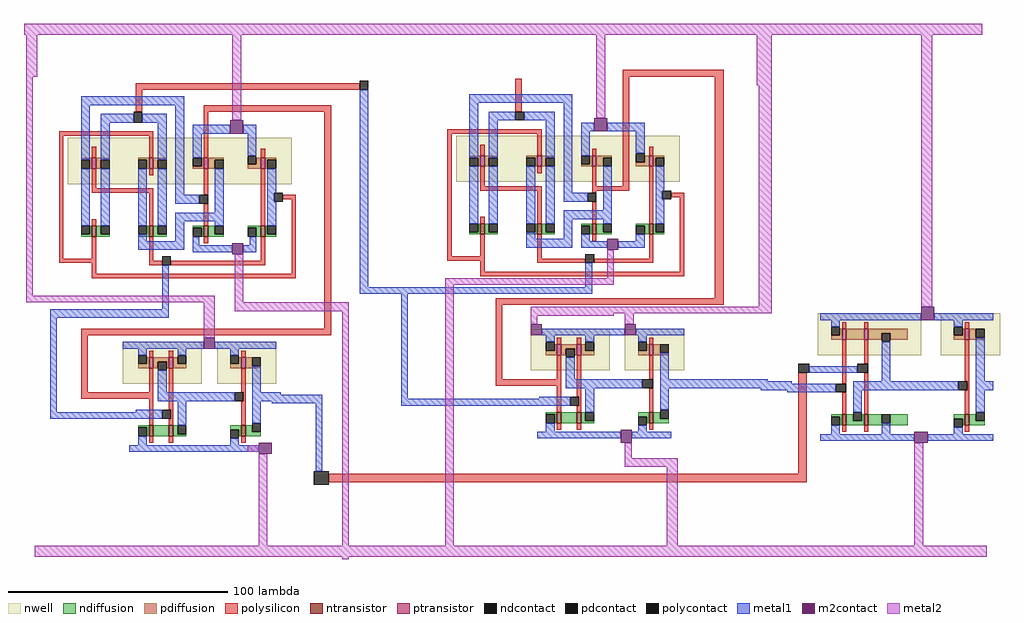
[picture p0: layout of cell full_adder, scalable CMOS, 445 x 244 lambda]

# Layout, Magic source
magic
tech scmos
<< nwell >>
rect -326 1 -224 22
rect -149 2 -47 23
rect -301 -90 -265 -71
rect -258 -90 -231 -71
rect -115 -84 -79 -65
rect -72 -84 -45 -65
rect 16 -77 63 -58
rect 72 -77 99 -58
<< ntransistor >>
rect -315 -23 -313 -18
rect -289 -23 -287 -18
rect -264 -23 -262 -18
rect -238 -23 -236 -18
rect -138 -22 -136 -17
rect -112 -22 -110 -17
rect -87 -22 -85 -17
rect -61 -22 -59 -17
rect -103 -108 -101 -103
rect -94 -108 -92 -103
rect -289 -114 -287 -109
rect -280 -114 -278 -109
rect -247 -114 -245 -109
rect -61 -108 -59 -103
rect 27 -109 29 -104
rect 37 -109 39 -104
rect 83 -109 85 -104
<< ptransistor >>
rect -315 8 -313 13
rect -289 8 -287 13
rect -264 8 -262 13
rect -238 8 -236 13
rect -138 9 -136 14
rect -112 9 -110 14
rect -87 9 -85 14
rect -61 9 -59 14
rect -289 -83 -287 -78
rect -280 -83 -278 -78
rect -247 -83 -245 -78
rect -103 -77 -101 -72
rect -94 -77 -92 -72
rect 27 -70 29 -65
rect 37 -70 39 -65
rect -61 -77 -59 -72
rect 83 -70 85 -65
<< ndiffusion >>
rect -316 -22 -315 -18
rect -320 -23 -315 -22
rect -313 -22 -311 -18
rect -313 -23 -307 -22
rect -290 -22 -289 -18
rect -294 -23 -289 -22
rect -287 -22 -285 -18
rect -287 -23 -281 -22
rect -269 -19 -264 -18
rect -265 -23 -264 -19
rect -262 -22 -259 -18
rect -262 -23 -255 -22
rect -244 -19 -238 -18
rect -240 -23 -238 -19
rect -236 -22 -235 -18
rect -236 -23 -231 -22
rect -139 -21 -138 -17
rect -143 -22 -138 -21
rect -136 -21 -134 -17
rect -136 -22 -130 -21
rect -113 -21 -112 -17
rect -117 -22 -112 -21
rect -110 -21 -108 -17
rect -110 -22 -104 -21
rect -92 -18 -87 -17
rect -88 -22 -87 -18
rect -85 -21 -82 -17
rect -85 -22 -78 -21
rect -67 -18 -61 -17
rect -63 -22 -61 -18
rect -59 -21 -58 -17
rect -59 -22 -54 -21
rect -108 -104 -103 -103
rect -104 -108 -103 -104
rect -101 -108 -94 -103
rect -92 -107 -90 -103
rect -92 -108 -86 -107
rect -66 -105 -61 -103
rect -294 -110 -289 -109
rect -290 -114 -289 -110
rect -287 -114 -280 -109
rect -278 -113 -276 -109
rect -278 -114 -272 -113
rect -252 -111 -247 -109
rect -248 -114 -247 -111
rect -245 -112 -242 -109
rect -62 -108 -61 -105
rect -59 -106 -56 -103
rect -59 -108 -52 -106
rect -245 -114 -238 -112
rect 22 -105 27 -104
rect 26 -109 27 -105
rect 29 -107 32 -104
rect 36 -107 37 -104
rect 29 -109 37 -107
rect 39 -108 45 -104
rect 49 -108 57 -104
rect 39 -109 57 -108
rect 78 -106 83 -104
rect 82 -109 83 -106
rect 85 -107 88 -104
rect 85 -109 92 -107
<< pdiffusion >>
rect -320 12 -315 13
rect -316 8 -315 12
rect -313 12 -307 13
rect -313 8 -311 12
rect -294 12 -289 13
rect -290 8 -289 12
rect -287 12 -281 13
rect -287 8 -285 12
rect -265 9 -264 13
rect -269 8 -264 9
rect -262 12 -255 13
rect -262 8 -259 12
rect -240 10 -238 13
rect -244 8 -238 10
rect -236 12 -231 13
rect -236 8 -235 12
rect -143 13 -138 14
rect -139 9 -138 13
rect -136 13 -130 14
rect -136 9 -134 13
rect -117 13 -112 14
rect -113 9 -112 13
rect -110 13 -104 14
rect -110 9 -108 13
rect -88 10 -87 14
rect -92 9 -87 10
rect -85 13 -78 14
rect -85 9 -82 13
rect -63 11 -61 14
rect -67 9 -61 11
rect -59 13 -54 14
rect -59 9 -58 13
rect -290 -81 -289 -78
rect -294 -83 -289 -81
rect -287 -80 -280 -78
rect -287 -83 -285 -80
rect -281 -83 -280 -80
rect -278 -81 -276 -78
rect -278 -83 -272 -81
rect -248 -81 -247 -78
rect -252 -83 -247 -81
rect -245 -82 -242 -78
rect -245 -83 -238 -82
rect 26 -68 27 -65
rect -104 -75 -103 -72
rect -108 -77 -103 -75
rect -101 -74 -94 -72
rect -101 -77 -99 -74
rect -95 -77 -94 -74
rect -92 -75 -90 -72
rect -92 -77 -86 -75
rect 22 -70 27 -68
rect 29 -70 37 -65
rect 39 -67 57 -65
rect 39 -70 45 -67
rect -62 -75 -61 -72
rect -66 -77 -61 -75
rect -59 -76 -56 -72
rect -59 -77 -52 -76
rect 49 -70 57 -67
rect 82 -68 83 -65
rect 78 -70 83 -68
rect 85 -69 88 -65
rect 85 -70 92 -69
<< ndcontact >>
rect -320 -22 -316 -18
rect -311 -22 -307 -18
rect -294 -22 -290 -18
rect -285 -22 -281 -18
rect -269 -23 -265 -19
rect -259 -22 -255 -18
rect -244 -23 -240 -19
rect -235 -22 -231 -18
rect -143 -21 -139 -17
rect -134 -21 -130 -17
rect -117 -21 -113 -17
rect -108 -21 -104 -17
rect -92 -22 -88 -18
rect -82 -21 -78 -17
rect -67 -22 -63 -18
rect -58 -21 -54 -17
rect -108 -108 -104 -104
rect -90 -107 -86 -103
rect -294 -114 -290 -110
rect -276 -113 -272 -109
rect -252 -115 -248 -111
rect -242 -112 -238 -108
rect -66 -109 -62 -105
rect -56 -106 -52 -102
rect 22 -109 26 -105
rect 32 -107 36 -103
rect 45 -108 49 -104
rect 78 -110 82 -106
rect 88 -107 92 -103
<< pdcontact >>
rect -320 8 -316 12
rect -311 8 -307 12
rect -294 8 -290 12
rect -285 8 -281 12
rect -269 9 -265 13
rect -259 8 -255 12
rect -244 10 -240 14
rect -235 8 -231 12
rect -143 9 -139 13
rect -134 9 -130 13
rect -117 9 -113 13
rect -108 9 -104 13
rect -92 10 -88 14
rect -82 9 -78 13
rect -67 11 -63 15
rect -58 9 -54 13
rect -294 -81 -290 -77
rect -285 -84 -281 -80
rect -276 -81 -272 -77
rect -252 -81 -248 -77
rect -242 -82 -238 -78
rect 22 -68 26 -64
rect -108 -75 -104 -71
rect -99 -78 -95 -74
rect -90 -75 -86 -71
rect -66 -75 -62 -71
rect -56 -76 -52 -72
rect 45 -71 49 -67
rect 78 -68 82 -64
rect 88 -69 92 -65
<< polysilicon >>
rect -73 50 -27 53
rect -295 44 -193 47
rect -295 34 -292 44
rect -264 34 -206 37
rect -330 23 -287 25
rect -330 -33 -328 23
rect -315 13 -313 18
rect -289 13 -287 23
rect -264 13 -262 34
rect -238 13 -236 17
rect -315 -1 -313 8
rect -289 5 -287 8
rect -315 -3 -287 -1
rect -315 -18 -313 -15
rect -289 -18 -287 -3
rect -264 -4 -262 8
rect -264 -18 -262 -8
rect -238 -18 -236 8
rect -228 -6 -222 -4
rect -315 -33 -313 -23
rect -330 -35 -313 -33
rect -315 -40 -313 -35
rect -289 -34 -287 -23
rect -264 -26 -262 -23
rect -289 -36 -283 -34
rect -238 -34 -236 -23
rect -279 -36 -236 -34
rect -224 -40 -222 -6
rect -315 -42 -222 -40
rect -209 -65 -206 34
rect -122 34 -119 49
rect -153 24 -110 26
rect -153 -32 -151 24
rect -138 14 -136 19
rect -112 14 -110 24
rect -87 14 -85 17
rect -138 0 -136 9
rect -112 6 -110 9
rect -87 0 -85 9
rect -73 0 -70 50
rect -61 14 -59 18
rect -138 -2 -110 0
rect -138 -17 -136 -14
rect -112 -17 -110 -2
rect -87 -2 -70 0
rect -87 -3 -85 -2
rect -87 -17 -85 -7
rect -61 -17 -59 9
rect -51 -5 -45 -3
rect -138 -32 -136 -22
rect -153 -34 -136 -32
rect -138 -39 -136 -34
rect -112 -33 -110 -22
rect -87 -25 -85 -22
rect -112 -35 -90 -33
rect -61 -33 -59 -22
rect -86 -35 -59 -33
rect -47 -39 -45 -5
rect -138 -41 -45 -39
rect -31 -51 -27 50
rect -320 -68 -206 -65
rect -131 -54 -27 -51
rect -320 -94 -317 -68
rect -289 -78 -287 -75
rect -280 -78 -278 -75
rect -289 -94 -287 -83
rect -247 -78 -245 -75
rect -320 -97 -287 -94
rect -289 -109 -287 -97
rect -280 -102 -278 -83
rect -247 -94 -245 -83
rect -131 -88 -128 -54
rect 27 -65 29 -62
rect 37 -65 39 -62
rect -103 -72 -101 -69
rect -94 -72 -92 -69
rect -103 -88 -101 -77
rect -61 -72 -59 -69
rect -131 -91 -101 -88
rect -246 -98 -245 -94
rect -279 -106 -278 -102
rect -280 -109 -278 -106
rect -247 -109 -245 -98
rect -103 -103 -101 -91
rect -94 -96 -92 -77
rect -61 -88 -59 -77
rect -93 -100 -92 -96
rect -94 -103 -92 -100
rect -61 -103 -59 -92
rect -289 -117 -287 -114
rect -280 -117 -278 -114
rect -103 -111 -101 -108
rect -94 -111 -92 -108
rect -61 -111 -59 -108
rect -247 -117 -245 -114
rect 7 -131 11 -85
rect 27 -90 29 -70
rect 37 -81 39 -70
rect 83 -65 85 -62
rect 27 -104 29 -94
rect 37 -104 39 -85
rect 83 -89 85 -70
rect 84 -93 85 -89
rect 83 -104 85 -93
rect 27 -112 29 -109
rect 37 -112 39 -109
rect 83 -112 85 -109
rect -207 -135 11 -131
<< polycontact >>
rect -193 44 -189 48
rect -296 29 -292 34
rect -266 -8 -262 -4
rect -232 -7 -228 -3
rect -283 -36 -279 -32
rect -122 30 -118 34
rect -89 -7 -85 -3
rect -55 -6 -51 -2
rect -90 -35 -86 -31
rect -250 -98 -246 -94
rect -283 -106 -279 -102
rect -64 -92 -59 -88
rect -97 -100 -93 -96
rect 7 -85 12 -81
rect -214 -136 -207 -130
rect 34 -85 39 -81
rect 24 -94 29 -90
rect 80 -93 84 -89
<< metal1 >>
rect -320 37 -273 41
rect -320 12 -316 37
rect -320 -18 -316 8
rect -311 29 -296 33
rect -292 29 -281 33
rect -311 12 -307 29
rect -285 12 -281 29
rect -311 -18 -307 8
rect -294 -18 -290 8
rect -285 -18 -281 8
rect -277 -4 -273 37
rect -269 24 -252 28
rect -246 24 -240 28
rect -269 13 -265 24
rect -244 14 -240 24
rect -277 -8 -266 -4
rect -259 -12 -255 8
rect -277 -16 -255 -12
rect -294 -25 -290 -22
rect -277 -25 -273 -16
rect -259 -18 -255 -16
rect -294 -29 -273 -25
rect -235 -3 -231 8
rect -235 -7 -232 -3
rect -235 -18 -231 -7
rect -269 -27 -266 -23
rect -269 -30 -251 -27
rect -243 -27 -240 -23
rect -246 -30 -240 -27
rect -283 -56 -280 -36
rect -193 -46 -189 44
rect -143 38 -96 42
rect -143 13 -139 38
rect -143 -17 -139 9
rect -134 30 -122 34
rect -118 30 -104 34
rect -134 13 -130 30
rect -108 13 -104 30
rect -134 -17 -130 9
rect -117 -17 -113 9
rect -108 -17 -104 9
rect -100 -3 -96 38
rect -92 25 -86 29
rect -80 25 -63 29
rect -92 14 -88 25
rect -67 15 -63 25
rect -100 -7 -89 -3
rect -82 -11 -78 9
rect -100 -15 -78 -11
rect -117 -24 -113 -21
rect -100 -24 -96 -15
rect -82 -17 -78 -15
rect -117 -28 -96 -24
rect -58 -2 -54 9
rect -58 -6 -55 -2
rect -58 -17 -54 -6
rect -92 -25 -88 -22
rect -92 -28 -80 -25
rect -67 -25 -63 -22
rect -75 -28 -63 -25
rect -90 -46 -87 -35
rect -193 -49 -87 -46
rect -334 -60 -280 -56
rect -334 -103 -331 -60
rect -301 -74 -264 -71
rect -259 -74 -231 -71
rect -294 -77 -290 -74
rect -276 -77 -272 -74
rect -252 -77 -248 -74
rect -285 -94 -281 -84
rect -242 -94 -238 -82
rect -285 -98 -250 -94
rect -242 -95 -229 -94
rect -242 -98 -210 -95
rect -295 -103 -283 -102
rect -334 -106 -283 -103
rect -276 -109 -272 -98
rect -242 -108 -238 -98
rect -233 -99 -210 -98
rect -294 -118 -290 -114
rect -252 -118 -248 -115
rect -298 -121 -239 -118
rect -213 -130 -210 -99
rect -174 -97 -171 -49
rect 17 -61 63 -58
rect 69 -61 96 -58
rect -110 -68 -72 -65
rect 22 -64 26 -61
rect -67 -68 -45 -65
rect 78 -64 82 -61
rect -108 -71 -104 -68
rect -90 -71 -86 -68
rect -66 -71 -62 -68
rect -99 -88 -95 -78
rect -56 -88 -52 -76
rect 12 -85 34 -82
rect -99 -92 -64 -88
rect -56 -89 -7 -88
rect 45 -89 49 -71
rect 88 -89 92 -69
rect -56 -90 4 -89
rect -56 -92 24 -90
rect -111 -97 -97 -96
rect -174 -100 -97 -97
rect -90 -103 -86 -92
rect -56 -102 -52 -92
rect -10 -93 24 -92
rect 2 -94 24 -93
rect 32 -93 80 -89
rect 88 -93 96 -89
rect -108 -112 -104 -108
rect 32 -103 36 -93
rect -112 -115 -74 -112
rect -66 -112 -62 -109
rect 88 -103 92 -93
rect -69 -115 -51 -112
rect 22 -113 26 -109
rect 45 -113 49 -108
rect 17 -116 60 -113
rect 78 -113 82 -110
rect 66 -116 96 -113
<< m2contact >>
rect -252 24 -246 30
rect -251 -31 -246 -26
rect -86 25 -80 31
rect -80 -29 -75 -24
rect -264 -74 -259 -69
rect -239 -122 -233 -117
rect 63 -61 69 -55
rect -115 -68 -110 -63
rect -72 -68 -67 -63
rect -74 -117 -69 -111
rect 60 -117 66 -112
<< metal2 >>
rect -346 69 91 74
rect -345 50 -340 69
rect -345 -50 -342 50
rect -251 30 -247 69
rect -85 31 -81 69
rect -12 46 -5 69
rect -345 -53 -259 -50
rect -264 -69 -259 -53
rect -250 -53 -246 -31
rect -80 -42 -77 -29
rect -154 -45 -77 -42
rect -250 -57 -198 -53
rect -244 -121 -239 -118
rect -239 -164 -235 -122
rect -201 -164 -198 -57
rect -154 -164 -150 -45
rect -11 -55 -5 46
rect -115 -58 -5 -55
rect 63 -55 68 69
rect -115 -59 -77 -58
rect -115 -63 -112 -59
rect -72 -63 -68 -58
rect -72 -124 -69 -117
rect -72 -128 -48 -124
rect -53 -164 -48 -128
rect 60 -164 64 -117
rect -341 -169 93 -164
rect -201 -170 -198 -169
<< end >>
